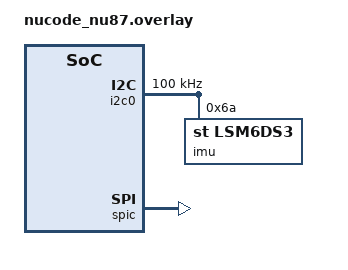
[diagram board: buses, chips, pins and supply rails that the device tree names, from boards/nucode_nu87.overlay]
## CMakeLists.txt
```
# SPDX-License-Identifier: Apache-2.0
cmake_minimum_required(VERSION 3.20.0)
find_package(Zephyr REQUIRED HINTS $ENV{ZEPHYR_BASE})
project(nu87_imu_bringup)
target_include_directories(app PRIVATE include)
target_sources(app PRIVATE src/main.c src/imu_device.c src/imu_calibration.c src/imu_storage.c)
if(CONFIG_SOC_SERIES_AMEBAD AND NOT CONFIG_WIFI_AMEBA)
  target_sources(app PRIVATE src/ameba_log_compat.c)
endif()
```

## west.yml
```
# SPDX-License-Identifier: Apache-2.0
# Minimal manifest matching micro-wallaby f9e463f70d8a and its imported HAL pins.
manifest:
  version: "1.2"
  projects:
    - name: zephyr
      url: https://github.com/manjae-cho/zephyr
      revision: e70694102ad6f910485155a824c5483daf605a9f
      west-commands: scripts/west-commands.yml
    - name: cmsis
      url: https://github.com/zephyrproject-rtos/cmsis
      revision: 512cc7e895e8491696b61f7ba8066b4a182569b8
      path: modules/hal/cmsis
    - name: cmsis_6
      url: https://github.com/zephyrproject-rtos/CMSIS_6
      revision: b2dfbe1a20bbd49c2d2c605073799671074bbb30
      path: modules/hal/cmsis_6
    - name: hal_realtek
      url: https://github.com/zephyrproject-rtos/hal_realtek
      revision: 9a4caf9846d6f0ceb6b38f971a771b1325c1e4b9
      path: modules/hal/realtek
  self:
    path: manifest
```

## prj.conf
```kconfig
# SPDX-License-Identifier: Apache-2.0
CONFIG_GPIO=y
CONFIG_I2C=y
CONFIG_PINCTRL=y
CONFIG_CONSOLE=y
CONFIG_SERIAL=y
CONFIG_UART_CONSOLE=y
CONFIG_PRINTK=y
CONFIG_SHELL=y
CONFIG_SHELL_BACKEND_SERIAL=y
CONFIG_SHELL_VT100_COLORS=n
CONFIG_SHELL_STACK_SIZE=4096
CONFIG_LOG=y
CONFIG_LOG_MODE_DEFERRED=y
CONFIG_LOG_PROCESS_TRIGGER_THRESHOLD=1
CONFIG_LOG_PROCESS_THREAD_SLEEP_MS=20
CONFIG_LOG_DEFAULT_LEVEL=3
CONFIG_LOG_BACKEND_UART=n
CONFIG_LOG_BACKEND_SHOW_COLOR=n
CONFIG_LOG_BUFFER_SIZE=8192
CONFIG_CBPRINTF_FP_SUPPORT=y
CONFIG_MAIN_STACK_SIZE=4096
CONFIG_SYSTEM_WORKQUEUE_STACK_SIZE=2048
CONFIG_ASSERT=y
CONFIG_FLASH=y
CONFIG_FLASH_PAGE_LAYOUT=y
CONFIG_FLASH_MAP=y
CONFIG_NVS=y
CONFIG_NVS_DATA_CRC=y
CONFIG_BUILD_OUTPUT_BIN=y
```

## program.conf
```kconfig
# SPDX-License-Identifier: Apache-2.0
# Include the pinned Realtek KM0 image to produce a runnable combined application.
CONFIG_SOC_AMEBA_NP_IMAGE=y
```

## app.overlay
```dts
/* SPDX-License-Identifier: Apache-2.0 */
#include <zephyr/dt-bindings/pinctrl/amebad-pinctrl.h>

&pinctrl {
	imu_i2c_default: imu_i2c_default {
		group1 {
			pinmux = <AMEBA_PINMUX('A', 25, AMEBA_I2C)>,
				 <AMEBA_PINMUX('A', 26, AMEBA_I2C)>;
			bias-pull-up;
		};
	};
};

&i2c0 {
	status = "okay";
	clock-frequency = <I2C_BITRATE_STANDARD>;
	pinctrl-0 = <&imu_i2c_default>;
	pinctrl-names = "default";
};

&loguart {
	status = "okay";
	current-speed = <1500000>;
};

&spic {
	status = "okay";
};
```

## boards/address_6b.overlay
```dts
/* For modules with SA0 pulled high. The node name is cosmetic. */
&imu {
	reg = <0x6b>;
};
```

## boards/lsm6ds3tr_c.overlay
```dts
/* Select only after confirming the module uses LSM6DS3TR-C (WHO_AM_I 0x6a). */
&imu {
	compatible = "st,lsm6ds3tr-c";
};
```

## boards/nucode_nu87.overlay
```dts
#include <zephyr/dt-bindings/pinctrl/amebad-pinctrl.h>

/ {
	aliases {
		imu0 = &imu;
	};
};

&pinctrl {
	imu_i2c_default: imu_i2c_default {
		group1 {
			pinmux = <AMEBA_PINMUX('A', 25, AMEBA_I2C)>,
				 <AMEBA_PINMUX('A', 26, AMEBA_I2C)>;
			bias-pull-up;
		};
	};
};

&i2c0 {
	status = "okay";
	clock-frequency = <I2C_BITRATE_STANDARD>;
	pinctrl-0 = <&imu_i2c_default>;
	pinctrl-names = "default";
	imu: imu@6a {
		compatible = "st,lsm6ds3";
		reg = <0x6a>;
	};
};

&spic {
	status = "okay";
};
```

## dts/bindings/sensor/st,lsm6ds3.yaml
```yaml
description: Application-local polling driver for the ST LSM6DS3 (LSM6DS3TR)
compatible: "st,lsm6ds3"
include: [sensor-device.yaml, i2c-device.yaml]
```

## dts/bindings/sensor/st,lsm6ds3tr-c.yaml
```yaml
description: Application-local polling driver for the ST LSM6DS3TR-C
compatible: "st,lsm6ds3tr-c"
include: [sensor-device.yaml, i2c-device.yaml]
```

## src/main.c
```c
/* SPDX-License-Identifier: Apache-2.0 */
/* Ported from firmware/nu40_imu_bringup with NU87 pins and UART console. */
#include "imu_device.h"
#include "imu_calibration.h"
#include "imu_storage.h"

#include <errno.h>
#include <string.h>
#include <zephyr/device.h>
#include <zephyr/drivers/gpio.h>
#include <zephyr/drivers/i2c.h>
#include <zephyr/kernel.h>
#include <zephyr/logging/log.h>
#include <zephyr/shell/shell.h>
#include <zephyr/sys/atomic.h>

LOG_MODULE_REGISTER(nu87_imu, LOG_LEVEL_INF);

static const struct device *const bus = DEVICE_DT_GET(DT_NODELABEL(i2c0));
static const struct device *const gpioa = DEVICE_DT_GET(DT_NODELABEL(gpioa));
static K_MUTEX_DEFINE(state_lock);
static struct imu_device imu;
static struct imu_calibration cal;
static uint8_t address;
static double bias[3];
static bool bias_valid, calibrating, storage_attempted;
static bool connected_before;
static uint8_t previous_address, previous_who;
static uint32_t fresh, stale, errors, late, reconnects, consecutive_errors;
static int last_error, storage_error = -ENODEV;
static int64_t last_fresh, cal_started;
static atomic_t streaming = ATOMIC_INIT(1);
static atomic_t pending;
enum { REQ_NONE, REQ_RETRY, REQ_CALIBRATE, REQ_SAVE, REQ_CLEAR };

static int read_bus_levels(gpio_port_value_t *levels)
{
	/* Read the input register only; never change pins owned by the I2C driver. */
	return device_is_ready(gpioa) ? gpio_port_get_raw(gpioa, levels) : -ENODEV;
}

static int bus_read(void *ctx, uint8_t reg, uint8_t *data, size_t size)
{
	return i2c_write_read(bus, *(uint8_t *)ctx, &reg, 1, data, size);
}

static int bus_write(void *ctx, uint8_t reg, uint8_t value)
{
	return i2c_reg_write_byte(bus, *(uint8_t *)ctx, reg, value);
}

static void bus_sleep(void *ctx, unsigned ms)
{
	ARG_UNUSED(ctx);
	k_msleep(ms);
}

static int command_request(const struct shell *sh, int request)
{
	if (!atomic_cas(&pending, REQ_NONE, request)) {
		shell_error(sh, "A command is already pending");
		return -EBUSY;
	}
	shell_print(sh, "Request queued");
	return 0;
}

#define REQUEST_COMMAND(name, value) \
	static int name(const struct shell *sh, size_t argc, char **argv) \
	{ ARG_UNUSED(argc); ARG_UNUSED(argv); return command_request(sh, value); }
REQUEST_COMMAND(cmd_retry, REQ_RETRY)
REQUEST_COMMAND(cmd_calibrate, REQ_CALIBRATE)
REQUEST_COMMAND(cmd_save, REQ_SAVE)
REQUEST_COMMAND(cmd_clear, REQ_CLEAR)

static int cmd_status(const struct shell *sh, size_t argc, char **argv)
{
	ARG_UNUSED(argc); ARG_UNUSED(argv);
	k_mutex_lock(&state_lock, K_FOREVER);
	shell_print(sh, "NU87 IMU v1.2: SDA=PA26 SCL=PA25 I2C=100000 Hz");
	gpio_port_value_t levels;
	if (read_bus_levels(&levels) == 0) {
		shell_print(sh, "bus_levels: SDA=%d SCL=%d (idle should be 1/1)",
			!!(levels & BIT(26)), !!(levels & BIT(25)));
	}
	shell_print(sh, "ready=%d address=0x%02x profile=%s last_error=%d stage=%s",
		imu.ready, address, imu_device_name(&imu), last_error,
		imu.stage ? imu.stage : "waiting");
	if (imu.id_valid) {
		shell_print(sh, "WHO_AM_I=0x%02x", imu.who_am_i);
	} else {
		shell_print(sh, "WHO_AM_I=unavailable (no successful ID read)");
	}
	shell_print(sh, "fresh=%u stale=%u errors=%u late=%u reconnects=%u age_ms=%lld",
		fresh, stale, errors, late, reconnects,
		fresh ? k_uptime_get() - last_fresh : -1LL);
	shell_print(sh, "calibrating=%d count=%u bias_valid=%d bias_dps=%.6f,%.6f,%.6f storage=%d",
		calibrating, cal.count, bias_valid, bias[0], bias[1], bias[2], storage_error);
	k_mutex_unlock(&state_lock);
	return 0;
}

static int cmd_stream(const struct shell *sh, size_t argc, char **argv)
{
	ARG_UNUSED(argc);
	if (!strcmp(argv[1], "on")) {
		atomic_set(&streaming, 1);
	} else if (!strcmp(argv[1], "off")) {
		atomic_set(&streaming, 0);
	} else {
		shell_error(sh, "Usage: imu stream on|off");
		return -EINVAL;
	}
	shell_print(sh, "Sample stream %s", argv[1]);
	return 0;
}

SHELL_STATIC_SUBCMD_SET_CREATE(imu_commands,
	SHELL_CMD_ARG(status, NULL, "Show sensor identity and health", cmd_status, 1, 0),
	SHELL_CMD_ARG(retry, NULL, "Probe 0x6a/0x6b and reinitialize", cmd_retry, 1, 0),
	SHELL_CMD_ARG(stream, NULL, "on|off: sample logging", cmd_stream, 2, 0),
	SHELL_CMD_ARG(calibrate, NULL, "Keep still for 1000 fresh samples", cmd_calibrate, 1, 0),
	SHELL_CMD_ARG(save, NULL, "Save accepted gyro bias", cmd_save, 1, 0),
	SHELL_CMD_ARG(clear, NULL, "Clear saved and RAM bias", cmd_clear, 1, 0),
	SHELL_SUBCMD_SET_END);
SHELL_CMD_REGISTER(imu, &imu_commands, "NU87 IMU diagnostics", NULL);

/* Called by the acquisition thread with state_lock held; only it uses I2C. */
static bool connect_sensor(void)
{
	imu.ready = false;
	calibrating = false;
	if (!device_is_ready(bus)) {
		imu.id_valid = false;
		imu.stage = "i2c-controller-not-ready";
		last_error = -ENODEV;
		LOG_ERR("I2C controller not ready; retrying in 2 seconds");
		return false;
	}
	gpio_port_value_t levels;
	if (read_bus_levels(&levels) == 0) {
		LOG_INF("I2C idle before probe: SDA=%d SCL=%d (expected 1/1)",
			!!(levels & BIT(26)), !!(levels & BIT(25)));
	}
	for (uint8_t candidate = 0x6a; candidate <= 0x6b; ++candidate) {
		address = candidate;
		imu.io = (struct imu_io){
			.read = bus_read, .write = bus_write,
			.sleep_ms = bus_sleep, .ctx = &address,
		};
		last_error = imu_device_init(&imu);
		if (imu.id_valid) {
			LOG_INF("probe addr=0x%02x WHO_AM_I=0x%02x profile=%s init=%d stage=%s",
				address, imu.who_am_i, imu_device_name(&imu), last_error, imu.stage);
		} else {
			LOG_WRN("probe addr=0x%02x WHO_AM_I=unavailable read_error=%d stage=%s",
				address, last_error, imu.stage);
		}
		if (last_error == 0) {
			++reconnects;
			consecutive_errors = 0;
			last_fresh = k_uptime_get();
			if (!storage_attempted) {
				storage_error = imu_storage_init();
				storage_attempted = true;
			}
			if (!connected_before || previous_address != address || previous_who != imu.who_am_i) {
				memset(bias, 0, sizeof(bias));
				int loaded = storage_error ? storage_error : imu_storage_load(imu.who_am_i, bias);
				bias_valid = loaded == 0;
				LOG_INF("Calibration load result=%d bias_valid=%d (missing record is normal)", loaded, bias_valid);
			} else {
				LOG_INF("Reconnected same profile/address; current RAM bias retained");
			}
			connected_before = true;
			previous_address = address;
			previous_who = imu.who_am_i;
			LOG_INF("IMU ready: profile=%s addr=0x%02x; sensor=104 Hz poll=100 Hz", imu_device_name(&imu), address);
			return true;
		}
	}
	LOG_WRN("No ready IMU; retrying in 2 seconds. Shell remains available.");
	return false;
}

static void process_request(void)
{
	int request = atomic_set(&pending, REQ_NONE);
	if (request == REQ_NONE) { return; }
	if (request == REQ_RETRY) {
		imu.ready = false;
		calibrating = false;
		return;
	}
	if (!imu.ready) {
		LOG_WRN("Command rejected: IMU not ready; use imu status");
		return;
	}
	if (request == REQ_CALIBRATE) {
		imu_cal_begin(&cal);
		calibrating = true;
		cal_started = k_uptime_get();
		LOG_INF("Calibration started: keep sensor still for ~10 seconds");
	} else if (request == REQ_SAVE) {
		if (!bias_valid || calibrating) {
			LOG_WRN("Save rejected: first complete calibration");
		} else {
			int rc = imu_storage_save(imu.who_am_i, bias);
			LOG_INF("Calibration save result=%d", rc);
		}
	} else if (request == REQ_CLEAR) {
		int rc = imu_storage_clear();
		if (rc == 0 || rc == -ENOENT) {
			memset(bias, 0, sizeof(bias));
			bias_valid = false;
			calibrating = false;
		}
		LOG_INF("Calibration clear result=%d", rc);
	}
}

int main(void)
{
	int64_t next_log = 0, next_health = 0, next_retry = 0;
	uint32_t previous_fresh = 0;

	k_msleep(1000);
	LOG_INF("NU87 IMU v1.2 (%s %s)", __DATE__, __TIME__);
	LOG_INF("NU87 app=0x%lx; SDA=PA26 SCL=PA25 I2C=100000 Hz; UART=1500000 baud",
		(unsigned long)DT_REG_ADDR(DT_CHOSEN(zephyr_code_partition)));
	LOG_INF("Commands: imu status | retry | stream on/off | calibrate | save | clear");
	int64_t next = k_uptime_get();
	next_health = next + 10000;
	while (true) {
		k_mutex_lock(&state_lock, K_FOREVER);
		bool forced_retry = atomic_get(&pending) == REQ_RETRY;
		process_request();
		int64_t now = k_uptime_get();
		if (!imu.ready && (forced_retry || now >= next_retry)) {
			connect_sensor();
			now = k_uptime_get();
			next_retry = now + 2000;
			next = now;
		}
		if (imu.ready) {
			struct imu_sample sample;
			int rc = imu_device_read(&imu, &sample);
			now = k_uptime_get();
			if (calibrating && (now - cal_started > 15000 || now - last_fresh > 100)) {
				calibrating = false;
				LOG_WRN("Calibration cancelled: timeout or missing samples");
			}
			if (rc == 0) {
				++fresh;
				last_fresh = now;
				last_error = 0;
				consecutive_errors = 0;
				if (calibrating) {
					struct imu_measurement measurement;
					memcpy(measurement.accel_g, sample.accel_g, sizeof(sample.accel_g));
					memcpy(measurement.gyro_dps, sample.gyro_dps, sizeof(sample.gyro_dps));
					int result = imu_cal_add(&cal, &measurement);
					if (result != 0) {
						calibrating = false;
						if (result > 0) {
							memcpy(bias, cal.mean + 3, sizeof(bias));
							bias_valid = true;
							LOG_INF("Calibration accepted: count=%u bias_dps=%.6f,%.6f,%.6f; use imu save", cal.count, bias[0], bias[1], bias[2]);
						} else {
							LOG_WRN("Calibration rejected: motion/noise/range count=%u", cal.count);
						}
					}
				}
				if (atomic_get(&streaming) && now >= next_log) {
					LOG_INF("sample=%u accel_g=%.4f,%.4f,%.4f gyro_dps=%.4f,%.4f,%.4f corrected_dps=%.4f,%.4f,%.4f",
						fresh, sample.accel_g[0], sample.accel_g[1], sample.accel_g[2],
						sample.gyro_dps[0], sample.gyro_dps[1], sample.gyro_dps[2],
						sample.gyro_dps[0] - bias[0], sample.gyro_dps[1] - bias[1], sample.gyro_dps[2] - bias[2]);
					next_log = now + 100;
				}
			} else if (rc == -EAGAIN) {
				++stale;
			} else {
				++errors;
				++consecutive_errors;
				last_error = rc;
				calibrating = false;
				if (consecutive_errors == 1) {
					LOG_ERR("Sample failed rc=%d stage=%s", rc, imu.stage);
				}
			}
			if (consecutive_errors >= 5 || now - last_fresh > 1000) {
				imu.ready = false;
				calibrating = false;
				next_retry = now + 500;
				LOG_WRN("Sensor stalled; scheduling reinitialization");
			}
		}
		if (now >= next_health) {
			LOG_INF("health: ready=%d fresh=%u delta_10s=%u stale=%u errors=%u late=%u",
				imu.ready, fresh, fresh - previous_fresh, stale, errors, late);
			previous_fresh = fresh;
			next_health = now + 10000;
		}
		next += 10;
		if (now > next) { ++late; next = now + 10; }
		k_mutex_unlock(&state_lock);
		k_sleep(K_TIMEOUT_ABS_MS(next));
	}
	return 0;
}
```

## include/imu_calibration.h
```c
/* SPDX-License-Identifier: Apache-2.0 */
#ifndef MW_IMU_CALIBRATION_H
#define MW_IMU_CALIBRATION_H

#include <stdbool.h>
#include <stdint.h>

#define IMU_CAL_SAMPLES 1000U

struct imu_measurement {
	double accel_g[3];
	double gyro_dps[3];
};

struct imu_calibration {
	uint32_t count;
	double mean[6];
	double m2[6];
	bool rejected;
};

void imu_cal_begin(struct imu_calibration *cal);
/* Returns 0 while collecting, 1 when accepted, or a negative errno on rejection. */
int imu_cal_add(struct imu_calibration *cal, const struct imu_measurement *sample);
double imu_cal_stddev(const struct imu_calibration *cal, unsigned int channel);
bool imu_bias_valid(const double bias[3]);

#endif
```

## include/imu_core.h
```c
/* SPDX-License-Identifier: Apache-2.0 */
#ifndef MW_IMU_CORE_H
#define MW_IMU_CORE_H

#include <stddef.h>
#include <stdint.h>

struct imu_bus {
	void *ctx;
	int (*read)(void *ctx, uint8_t reg, uint8_t *data, size_t len);
	int (*write)(void *ctx, uint8_t reg, uint8_t value);
	void (*sleep_ms)(unsigned int ms);
};

struct imu_raw {
	int16_t accel[3];
	int16_t gyro[3];
};

int imu_core_init(const struct imu_bus *bus, uint8_t expected_id, uint8_t *observed_id);
int imu_core_fetch(const struct imu_bus *bus, struct imu_raw *sample);
int64_t imu_accel_micro_ms2(int16_t raw);
int64_t imu_gyro_micro_rads(int16_t raw);

#endif
```

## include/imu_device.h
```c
#ifndef NU87_IMU_DEVICE_H
#define NU87_IMU_DEVICE_H

#include <stdbool.h>
#include <stddef.h>
#include <stdint.h>

/* The transport owns the I2C address. Return 0 on success or negative errno. */
struct imu_io {
	int (*read)(void *ctx, uint8_t reg, uint8_t *data, size_t len);
	int (*write)(void *ctx, uint8_t reg, uint8_t value);
	void (*sleep_ms)(void *ctx, unsigned ms);
	void *ctx;
};

struct imu_device {
	struct imu_io io;
	uint8_t who_am_i;
	/* false means that who_am_i must NOT be reported as a sensor response. */
	bool id_valid;
	bool ready;
	const char *stage;
};

struct imu_sample {
	double accel_g[3];
	double gyro_dps[3];
};

/* Preserves io and resets all diagnostic state, including stale identity. */
int imu_device_init(struct imu_device *dev);

/* Requires new gyro AND accelerometer data; leaves sample unchanged on error.
 * -EAGAIN is normal while waiting for a fresh sample. Axes are sensor-native.
 */
int imu_device_read(struct imu_device *dev, struct imu_sample *sample);

/* Diagnostic name for the supported register profile selected by WHO_AM_I. */
const char *imu_device_name(const struct imu_device *dev);

#endif
```

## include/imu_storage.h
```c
/* SPDX-License-Identifier: Apache-2.0 */
#ifndef MW_IMU_STORAGE_H
#define MW_IMU_STORAGE_H
#include <stdint.h>
int imu_storage_init(void);
int imu_storage_load(uint8_t who, double bias[3]);
int imu_storage_save(uint8_t who, const double bias[3]);
int imu_storage_clear(void);
#endif
```

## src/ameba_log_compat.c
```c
/* SPDX-License-Identifier: Apache-2.0 */
/* Pinned HAL flash/I2C diagnostics need the same missing logging ABI as Wi-Fi.
 * Keep this small non-Wi-Fi adapter local until the HAL logger is shared upstream.
 */
#include <soc.h>
#include <ameba_soc.h>
#include <stdarg.h>
#include <zephyr/sys/cbprintf.h>

static int character_out(int character, void *context)
{
	(void)context;
	LOGUART_PutChar((uint8_t)character);
	return character;
}

int DiagVprintf(const char *format, va_list args)
{
	return cbvprintf(character_out, NULL, format, args);
}
```

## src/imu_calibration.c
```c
/* SPDX-License-Identifier: Apache-2.0 */
#include "imu_calibration.h"

#include <errno.h>
#include <math.h>
#include <string.h>

void imu_cal_begin(struct imu_calibration *cal)
{
	memset(cal, 0, sizeof(*cal));
}

bool imu_bias_valid(const double bias[3])
{
	for (int i = 0; i < 3; ++i) {
		if (!isfinite(bias[i]) || fabs(bias[i]) > 5.0) {
			return false;
		}
	}
	return true;
}

double imu_cal_stddev(const struct imu_calibration *cal, unsigned int channel)
{
	if (cal->count < 2 || channel >= 6) {
		return 0;
	}
	return sqrt(fmax(0, cal->m2[channel] / (cal->count - 1)));
}

int imu_cal_add(struct imu_calibration *cal, const struct imu_measurement *sample)
{
	double norm_squared = 0;

	if (cal->rejected || cal->count >= IMU_CAL_SAMPLES) {
		return -EINVAL;
	}
	for (int i = 0; i < 3; ++i) {
		if (!isfinite(sample->accel_g[i]) || !isfinite(sample->gyro_dps[i]) ||
		    fabs(sample->gyro_dps[i]) > 10.0) {
			cal->rejected = true;
			return -ERANGE;
		}
		norm_squared += sample->accel_g[i] * sample->accel_g[i];
	}
	if (norm_squared < 0.9 * 0.9 || norm_squared > 1.1 * 1.1) {
		cal->rejected = true;
		return -ERANGE;
	}
	++cal->count;
	for (int i = 0; i < 6; ++i) {
		double value = i < 3 ? sample->accel_g[i] : sample->gyro_dps[i - 3];
		double delta = value - cal->mean[i];
		cal->mean[i] += delta / cal->count;
		cal->m2[i] += delta * (value - cal->mean[i]);
	}
	if (cal->count < IMU_CAL_SAMPLES) {
		return 0;
	}
	for (int i = 0; i < 3; ++i) {
		if (imu_cal_stddev(cal, i) > 0.015 || imu_cal_stddev(cal, i + 3) > 0.5) {
			cal->rejected = true;
			return -ERANGE;
		}
	}
	if (!imu_bias_valid(cal->mean + 3)) {
		cal->rejected = true;
		return -ERANGE;
	}
	return 1;
}
```

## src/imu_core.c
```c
/* SPDX-License-Identifier: Apache-2.0 */
#include "imu_core.h"

#include <errno.h>

#define WHO_AM_I 0x0f
#define CTRL1_XL 0x10
#define CTRL2_G  0x11
#define CTRL3_C  0x12
#define STATUS  0x1e
#define OUTX_L_G 0x22

int imu_core_init(const struct imu_bus *bus, uint8_t expected_id, uint8_t *observed_id)
{
	uint8_t value;
	int rc;

	if (expected_id != 0x69 && expected_id != 0x6a) {
		return -EINVAL;
	}
	rc = bus->read(bus->ctx, WHO_AM_I, observed_id, 1);
	if (rc != 0) {
		return rc;
	}
	if (*observed_id != expected_id) {
		/* Never reset/write an unidentified device. */
		return -ENODEV;
	}
	rc = bus->write(bus->ctx, CTRL3_C, 0x01); /* SW_RESET, not BOOT */
	if (rc != 0) {
		return rc;
	}
	for (unsigned int i = 0; i < 50; ++i) {
		bus->sleep_ms(1);
		rc = bus->read(bus->ctx, CTRL3_C, &value, 1);
		if (rc != 0) {
			return rc;
		}
		if ((value & 0x01) == 0) {
			break;
		}
		if (i == 49) {
			return -ETIMEDOUT;
		}
	}
	/* Shared documented register subset: BDU, auto-increment, 104 Hz, 2 g, 250 dps. */
	static const uint8_t config[][2] = {
		{CTRL3_C, 0x44}, {CTRL1_XL, 0x40}, {CTRL2_G, 0x40},
	};
	for (size_t i = 0; i < sizeof(config) / sizeof(config[0]); ++i) {
		rc = bus->write(bus->ctx, config[i][0], config[i][1]);
		if (rc == 0) {
			rc = bus->read(bus->ctx, config[i][0], &value, 1);
		}
		if (rc != 0) {
			return rc;
		}
		if (value != config[i][1]) {
			return -EIO;
		}
	}
	bus->sleep_ms(150); /* Discard power-up transients before calibration. */
	return 0;
}

static int16_t signed_le16(const uint8_t *data)
{
	uint16_t bits = (uint16_t)data[0] | ((uint16_t)data[1] << 8);
	return (int16_t)(bits < 0x8000 ? (int32_t)bits : (int32_t)bits - 65536);
}

int imu_core_fetch(const struct imu_bus *bus, struct imu_raw *sample)
{
	uint8_t status;
	uint8_t buffer[12];
	struct imu_raw next;
	int rc = bus->read(bus->ctx, STATUS, &status, 1);

	if (rc != 0) {
		return rc;
	}
	if ((status & 0x03) != 0x03) {
		return -EAGAIN; /* Do not count a repeated/stale sample. */
	}
	rc = bus->read(bus->ctx, OUTX_L_G, buffer, sizeof(buffer));
	if (rc != 0) {
		return rc;
	}
	for (int axis = 0; axis < 3; ++axis) {
		next.gyro[axis] = signed_le16(buffer + axis * 2);
		next.accel[axis] = signed_le16(buffer + 6 + axis * 2);
	}
	*sample = next;
	return 0;
}

int64_t imu_accel_micro_ms2(int16_t raw)
{
	/* 0.061 mg/LSB at +/-2 g, standard gravity 9.80665 m/s^2. */
	return (int64_t)raw * 61 * 980665 / 100000;
}

int64_t imu_gyro_micro_rads(int16_t raw)
{
	/* 8.75 mdps/LSB at +/-250 dps; pi rounded to 9 decimal places. */
	return (int64_t)raw * 875 * 3141592654LL / 18000000000LL;
}
```

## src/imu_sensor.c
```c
/* SPDX-License-Identifier: Apache-2.0 */
#include "imu_core.h"

#include <zephyr/device.h>
#include <zephyr/drivers/i2c.h>
#include <zephyr/drivers/sensor.h>
#include <zephyr/kernel.h>
#include <zephyr/logging/log.h>

LOG_MODULE_REGISTER(mw_imu_sensor, LOG_LEVEL_INF);

struct imu_config {
	struct i2c_dt_spec i2c;
	uint8_t expected_id;
};

struct imu_data {
	struct imu_bus bus;
	struct imu_raw raw;
	struct k_mutex lock;
	bool valid;
};

static int reg_read(void *ctx, uint8_t reg, uint8_t *data, size_t len)
{
	const struct imu_config *cfg = ctx;
	return i2c_burst_read_dt(&cfg->i2c, reg, data, len);
}

static int reg_write(void *ctx, uint8_t reg, uint8_t value)
{
	const struct imu_config *cfg = ctx;
	return i2c_reg_write_byte_dt(&cfg->i2c, reg, value);
}

static void delay_ms(unsigned int ms)
{
	k_msleep(ms);
}

static int imu_init(const struct device *dev)
{
	const struct imu_config *cfg = dev->config;
	struct imu_data *data = dev->data;
	uint8_t observed = 0;
	int rc;

	k_mutex_init(&data->lock);
	if (!i2c_is_ready_dt(&cfg->i2c)) {
		return -ENODEV;
	}
	data->bus = (struct imu_bus){
		.ctx = (void *)cfg, .read = reg_read, .write = reg_write, .sleep_ms = delay_ms,
	};
	rc = imu_core_init(&data->bus, cfg->expected_id, &observed);
	LOG_INF("I2C=0x%02x WHO_AM_I=0x%02x expected=0x%02x init=%d",
		cfg->i2c.addr, observed, cfg->expected_id, rc);
	return rc;
}

static int imu_fetch(const struct device *dev, enum sensor_channel chan)
{
	struct imu_data *data = dev->data;
	int rc;

	if (chan != SENSOR_CHAN_ALL && chan != SENSOR_CHAN_ACCEL_XYZ &&
	    chan != SENSOR_CHAN_GYRO_XYZ) {
		return -ENOTSUP;
	}
	k_mutex_lock(&data->lock, K_FOREVER);
	rc = imu_core_fetch(&data->bus, &data->raw);
	data->valid = rc == 0;
	k_mutex_unlock(&data->lock);
	return rc;
}

static int imu_get(const struct device *dev, enum sensor_channel chan, struct sensor_value *val)
{
	struct imu_data *data = dev->data;
	int rc = 0;

	k_mutex_lock(&data->lock, K_FOREVER);
	if (!data->valid) {
		rc = -ENODATA;
	} else if (chan == SENSOR_CHAN_ACCEL_XYZ || chan == SENSOR_CHAN_GYRO_XYZ) {
		for (int i = 0; i < 3; ++i) {
			int64_t micro = chan == SENSOR_CHAN_ACCEL_XYZ ?
				imu_accel_micro_ms2(data->raw.accel[i]) :
				imu_gyro_micro_rads(data->raw.gyro[i]);
			val[i].val1 = micro / 1000000;
			val[i].val2 = micro % 1000000;
		}
	} else {
		rc = -ENOTSUP;
	}
	k_mutex_unlock(&data->lock);
	return rc;
}

static DEVICE_API(sensor, imu_api) = {
	.sample_fetch = imu_fetch,
	.channel_get = imu_get,
};

#define IMU_DEFINE(node, id)                                                                        \
	static struct imu_data imu_data_##node;                                                    \
	static const struct imu_config imu_config_##node = {                                       \
		.i2c = I2C_DT_SPEC_GET(node), .expected_id = id,                                    \
	};                                                                                         \
	SENSOR_DEVICE_DT_DEFINE(node, imu_init, NULL, &imu_data_##node, &imu_config_##node,            \
				POST_KERNEL, CONFIG_SENSOR_INIT_PRIORITY, &imu_api);

#define IMU_DS3(node) IMU_DEFINE(node, 0x69)
#define IMU_DS3TR_C(node) IMU_DEFINE(node, 0x6a)
DT_FOREACH_STATUS_OKAY(st_lsm6ds3, IMU_DS3)
DT_FOREACH_STATUS_OKAY(st_lsm6ds3tr_c, IMU_DS3TR_C)
```

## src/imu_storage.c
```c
/* SPDX-License-Identifier: Apache-2.0 */
#include "imu_calibration.h"
#include "imu_storage.h"

#include <errno.h>
#include <math.h>
#include <zephyr/drivers/flash.h>
#if __has_include(<zephyr/kvss/nvs.h>)
#include <zephyr/kvss/nvs.h>
#else
#include <zephyr/fs/nvs.h>
#endif
#include <zephyr/storage/flash_map.h>
#include <zephyr/sys/byteorder.h>

#define CAL_KEY 0x1701
#define CAL_SIZE 24
#define CAL_MAGIC 0x4d574943U

static struct nvs_fs fs;
static bool mounted;

int imu_storage_init(void)
{
	const struct flash_area *area;
	struct flash_pages_info page;
	int rc = flash_area_open(FIXED_PARTITION_ID(storage_partition), &area);

	if (rc != 0) {
		return rc;
	}
	fs.flash_device = area->fa_dev;
	fs.offset = area->fa_off;
	rc = flash_get_page_info_by_offs(fs.flash_device, fs.offset, &page);
	if (rc == 0 && (page.size == 0 || page.size > UINT16_MAX ||
	    area->fa_off % page.size || area->fa_size % page.size ||
	    area->fa_size / page.size < 2)) {
		rc = -EINVAL;
	}
	if (rc == 0) {
		fs.sector_size = page.size;
		fs.sector_count = area->fa_size / page.size;
		rc = nvs_mount(&fs);
	}
	flash_area_close(area);
	mounted = rc == 0;
	/* Never erase the partition as an automatic mount-error recovery. */
	return rc;
}

int imu_storage_load(uint8_t who, double bias[3])
{
	uint8_t record[CAL_SIZE];
	double next[3];
	ssize_t rc;

	if (!mounted) {
		return -ENODEV;
	}
	rc = nvs_read(&fs, CAL_KEY, record, sizeof(record));
	if (rc < 0) {
		return rc;
	}
	if (rc != sizeof(record) || sys_get_le32(record) != CAL_MAGIC ||
	    sys_get_le32(record + 4) != 1 || sys_get_le32(record + 8) != who) {
		return -EBADMSG;
	}
	for (int i = 0; i < 3; ++i) {
		uint32_t bits = sys_get_le32(record + 12 + i * 4);
		int64_t value = bits <= INT32_MAX ? (int64_t)bits : (int64_t)bits - 4294967296LL;
		next[i] = value / 1000000.0;
	}
	if (!imu_bias_valid(next)) {
		return -ERANGE;
	}
	for (int i = 0; i < 3; ++i) {
		bias[i] = next[i];
	}
	return 0;
}

int imu_storage_save(uint8_t who, const double bias[3])
{
	uint8_t record[CAL_SIZE];
	ssize_t rc;

	if (!mounted) {
		return -ENODEV;
	}
	if (!imu_bias_valid(bias)) {
		return -ERANGE;
	}
	sys_put_le32(CAL_MAGIC, record);
	sys_put_le32(1, record + 4);
	sys_put_le32(who, record + 8);
	for (int i = 0; i < 3; ++i) {
		sys_put_le32((uint32_t)(int32_t)lround(bias[i] * 1000000), record + 12 + i * 4);
	}
	rc = nvs_write(&fs, CAL_KEY, record, sizeof(record));
	/* nvs_write returns zero when the exact record is already stored. */
	return rc == 0 || rc == sizeof(record) ? 0 : (rc < 0 ? (int)rc : -EIO);
}

int imu_storage_clear(void)
{
	return mounted ? nvs_delete(&fs, CAL_KEY) : -ENODEV;
}
```
